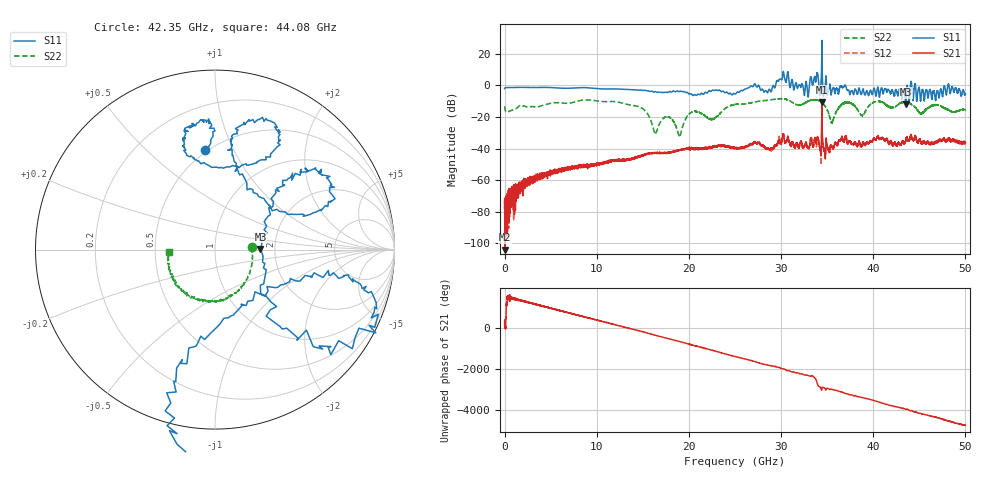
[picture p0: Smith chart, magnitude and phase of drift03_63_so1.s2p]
!Created with skrf (http://scikit-rf.org).
# Hz S RI R 50.0
!freq ReS11 ImS11 ReS21 ImS21 ReS12 ImS12 ReS22 ImS22
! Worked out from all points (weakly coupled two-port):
!   10000 points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, 5.3 MHz to 50 GHz, reference 50 ohm
!   highest |S21| = -10.66 dB at 34.43 GHz (marker M1); lowest = -104.0 dB at 70.3 MHz (marker M2)
!   lowest |S11| = -11.9 dB at 43.52 GHz (marker M3), VSWR 1.68, Z = 84 + j0.506 ohm
!   |S11| at or under -10 dB: 43.4849 GHz to 43.54695 GHz (62.05 MHz wide, 0.143 % of centre); 44.70771 GHz to 44.71191 GHz (4.197 MHz wide, 0.00939 % of centre)
!   |S22| runs from -32.3 to -8.4 dB; largest |S21 - S12| = 0.096
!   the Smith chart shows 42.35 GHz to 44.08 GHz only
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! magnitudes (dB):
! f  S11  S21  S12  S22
! 5.3 MHz  -2.1  -77.0  -71.1  -13.3
! 70.3 MHz  -1.5  -104.0  -73.8  -15.6
! 2.96 GHz  -1.4  -60.2  -58.5  -13.5
! 8.34 GHz  -1.5  -51.9  -50.7  -9.5
! 14.59 GHz  -3.1  -45.3  -45.2  -13.6
! 16.67 GHz  -4.4  -42.8  -42.7  -26.3
! 17.79 GHz  -4.3  -42.6  -42.4  -19.9
! 19 GHz  -3.9  -41.1  -41.0  -32.3
! 20.31 GHz  -5.7  -39.9  -40.1  -16.9
! 22.56 GHz  -3.1  -38.9  -39.4  -21.6
! 25.01 GHz  -5.5  -39.4  -39.6  -12.1
! 30.14 GHz  4.4  -33.4  -34.1  -8.5
! 33.34 GHz  2.6  -35.0  -35.3  -9.3
! 34.43 GHz  28.3  -10.7  -13.2  -10.8
! 35.52 GHz  -3.6  -38.9  -38.9  -23.4
! 36.96 GHz  0.2  -33.1  -33.3  -11.0
! 38.78 GHz  -4.6  -38.1  -37.7  -19.2
! 40.18 GHz  -3.4  -34.1  -34.1  -10.4
! 41.67 GHz  -2.8  -37.1  -36.6  -13.3
! 43.52 GHz  -11.9  -35.2  -35.2  -10.7
! 45.19 GHz  -7.1  -36.3  -36.0  -17.8
! 50 GHz  -5.3  -36.2  -36.5  -15.7
